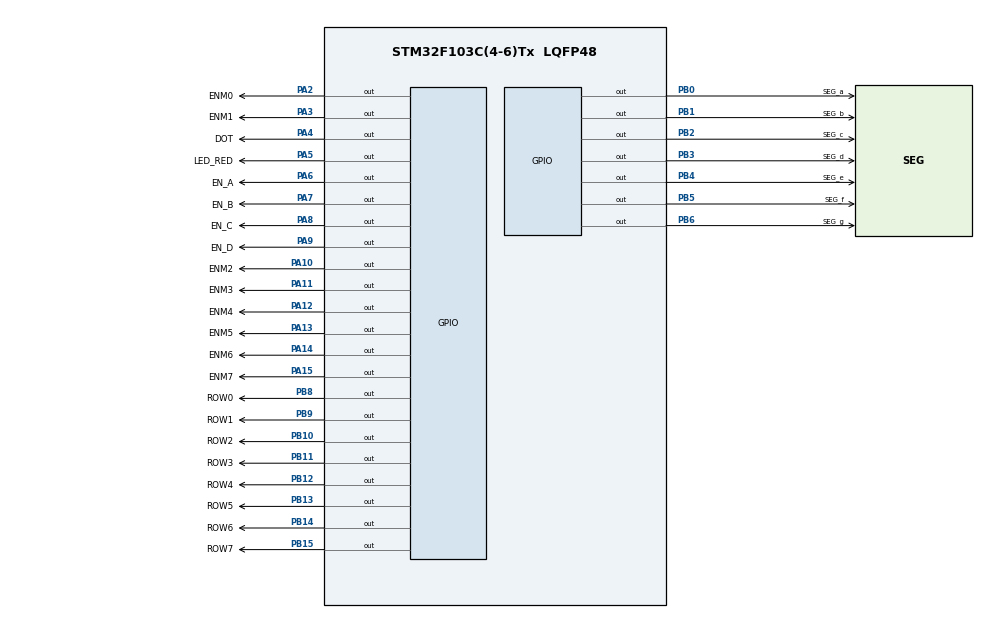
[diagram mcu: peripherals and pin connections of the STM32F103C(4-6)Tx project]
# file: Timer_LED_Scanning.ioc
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Mcu.Family=STM32F1
Mcu.Name=STM32F103C(4-6)Tx
Mcu.Package=LQFP48
NVIC.PriorityGroup=NVIC_PRIORITYGROUP_4
NVIC.TIM2_IRQn=true\:0\:0\:false\:false\:true\:true\:true
PA10.GPIO_Label=ENM2
PA10.Signal=GPIO_Output
PA11.GPIO_Label=ENM3
PA11.Signal=GPIO_Output
PA12.GPIO_Label=ENM4
PA12.Signal=GPIO_Output
PA13.GPIO_Label=ENM5
PA13.Signal=GPIO_Output
PA14.GPIO_Label=ENM6
PA14.Signal=GPIO_Output
PA15.GPIO_Label=ENM7
PA15.Signal=GPIO_Output
PA2.GPIO_Label=ENM0
PA2.Signal=GPIO_Output
PA3.GPIO_Label=ENM1
PA3.Signal=GPIO_Output
PA4.GPIO_Label=DOT
PA4.Signal=GPIO_Output
PA5.GPIO_Label=LED_RED
PA5.Signal=GPIO_Output
PA6.GPIO_Label=EN_A
PA6.Signal=GPIO_Output
PA7.GPIO_Label=EN_B
PA7.Signal=GPIO_Output
PA8.GPIO_Label=EN_C
PA8.Signal=GPIO_Output
PA9.GPIO_Label=EN_D
PA9.Signal=GPIO_Output
PB0.GPIO_Label=SEG_a
PB0.Signal=GPIO_Output
PB1.GPIO_Label=SEG_b
PB1.Signal=GPIO_Output
PB10.GPIO_Label=ROW2
PB10.Signal=GPIO_Output
PB11.GPIO_Label=ROW3
PB11.Signal=GPIO_Output
PB12.GPIO_Label=ROW4
PB12.Signal=GPIO_Output
PB13.GPIO_Label=ROW5
PB13.Signal=GPIO_Output
PB14.GPIO_Label=ROW6
PB14.Signal=GPIO_Output
PB15.GPIO_Label=ROW7
PB15.Signal=GPIO_Output
PB2.GPIO_Label=SEG_c
PB2.Signal=GPIO_Output
PB3.GPIO_Label=SEG_d
PB3.Signal=GPIO_Output
PB4.GPIO_Label=SEG_e
PB4.Signal=GPIO_Output
PB5.GPIO_Label=SEG_f
PB5.Signal=GPIO_Output
PB6.GPIO_Label=SEG_g
PB6.Signal=GPIO_Output
PB8.GPIO_Label=ROW0
PB8.Signal=GPIO_Output
PB9.GPIO_Label=ROW1
PB9.Signal=GPIO_Output
ProjectManager.HeapSize=0x200
ProjectManager.StackSize=0x400
ProjectManager.TargetToolchain=STM32CubeIDE
RCC.APB1Freq_Value=8000000
RCC.APB2Freq_Value=8000000
TIM2.Period=9
TIM2.Prescaler=7999
VP_SYS_VS_ND.Mode=No_Debug
VP_TIM2_VS_ClockSourceINT.Mode=Internal
board=custom

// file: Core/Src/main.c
/* USER CODE BEGIN Header */
/**
  ******************************************************************************
  * @file           : main.c
  * @brief          : Main program body
  ******************************************************************************
  * @attention
  *
  * <h2><center>&copy; Copyright (c) 2023 STMicroelectronics.
  * All rights reserved.</center></h2>
  *
  * This software component is licensed by ST under BSD 3-Clause license,
  * the "License"; You may not use this file except in compliance with the
  * License. You may obtain a copy of the License at:
  *                        opensource.org/licenses/BSD-3-Clause
  *
  ******************************************************************************
  */
/* USER CODE END Header */
#include "main.h"

TIM_HandleTypeDef htim2;

/* USER CODE BEGIN PV */
int dot_status = 0;
int led_index = 0;
char matrix_value = 'A';
int matrix_row_index = 0;
int matrix_index = 0;
int hour = 15;
int minute = 8;
int second = 50;
/* USER CODE END PV */

void SystemClock_Config(void);
static void MX_GPIO_Init(void);
static void MX_TIM2_Init(void);

int main(void)
{

  /* MCU Configuration--------------------------------------------------------*/

  /* Reset of all peripherals, Initializes the Flash interface and the Systick. */
  HAL_Init();

  /* Configure the system clock */
  SystemClock_Config();

  /* Initialize all configured peripherals */
  MX_GPIO_Init();
  MX_TIM2_Init();
  /* USER CODE BEGIN 2 */
  HAL_GPIO_WritePin(LED_RED_GPIO_Port, LED_RED_Pin, GPIO_PIN_RESET);
  HAL_TIM_Base_Start_IT(&htim2);
  init_led_seg();
  init_software_timer();
  init_led_matrix();
  /* USER CODE END 2 */

  /* Infinite loop */
  /* USER CODE BEGIN WHILE */
  while (1)
  {
	  // LED scanning
	  update7SEG(led_index);
	  displayDot(dot_status);
	  updateMatrixRow(matrix_row_index);
	  updateMatrixBuffer(matrix_value);
	  // Timer controller for next state
	  if(timer[SEG_TIMER_INDEX].flag == 1){
		  set_timer(SEG_TIMER_INDEX);
		  led_index = (led_index + 1) % NUM_LED;// Switch to next LEDs
	  }
	  if(timer[DOT_TIMER_INDEX].flag == 1){
		  set_timer(DOT_TIMER_INDEX);
		  dot_status = !dot_status;
	  }
	  if(timer[CLOCK_TIMER_INDEX].flag == 1){
		  set_timer(CLOCK_TIMER_INDEX);
		  second++;
		  if(second >= 60){
			  second = 0;
			  minute++;
		  }
		  if(minute >= 60){
			  hour++;
			  minute = 0;
		  }
		  if(hour >= 24){
			  hour = 0;
		  }
		  updateClockBuffer(hour, minute);
		  matrix_value = (matrix_value + 1) % (NUM_ROW * 2);
	  }

	  if(timer[MATRIX_TIMER_INDEX].flag == 1){
		  set_timer(MATRIX_TIMER_INDEX);
		  matrix_row_index = (matrix_row_index + 1) % NUM_ROW;
	  }

    /* USER CODE END WHILE */

  }
}

void SystemClock_Config(void)
{
  RCC_OscInitTypeDef RCC_OscInitStruct = {0};
  RCC_ClkInitTypeDef RCC_ClkInitStruct = {0};

  /** Initializes the RCC Oscillators according to the specified parameters
  * in the RCC_OscInitTypeDef structure.
  */
  RCC_OscInitStruct.OscillatorType = RCC_OSCILLATORTYPE_HSI;
  RCC_OscInitStruct.HSIState = RCC_HSI_ON;
  RCC_OscInitStruct.HSICalibrationValue = RCC_HSICALIBRATION_DEFAULT;
  RCC_OscInitStruct.PLL.PLLState = RCC_PLL_NONE;
  if (HAL_RCC_OscConfig(&RCC_OscInitStruct) != HAL_OK)
  {
    Error_Handler();
  }
  /** Initializes the CPU, AHB and APB buses clocks
  */
  RCC_ClkInitStruct.ClockType = RCC_CLOCKTYPE_HCLK|RCC_CLOCKTYPE_SYSCLK
                              |RCC_CLOCKTYPE_PCLK1|RCC_CLOCKTYPE_PCLK2;
  RCC_ClkInitStruct.SYSCLKSource = RCC_SYSCLKSOURCE_HSI;
  RCC_ClkInitStruct.AHBCLKDivider = RCC_SYSCLK_DIV1;
  RCC_ClkInitStruct.APB1CLKDivider = RCC_HCLK_DIV1;
  RCC_ClkInitStruct.APB2CLKDivider = RCC_HCLK_DIV1;

  if (HAL_RCC_ClockConfig(&RCC_ClkInitStruct, FLASH_LATENCY_0) != HAL_OK)
  {
    Error_Handler();
  }
}

static void MX_TIM2_Init(void)
{

  TIM_ClockConfigTypeDef sClockSourceConfig = {0};
  TIM_MasterConfigTypeDef sMasterConfig = {0};

  htim2.Instance = TIM2;
  htim2.Init.Prescaler = 7999;
  htim2.Init.CounterMode = TIM_COUNTERMODE_UP;
  htim2.Init.Period = 9;
  htim2.Init.ClockDivision = TIM_CLOCKDIVISION_DIV1;
  htim2.Init.AutoReloadPreload = TIM_AUTORELOAD_PRELOAD_DISABLE;
  if (HAL_TIM_Base_Init(&htim2) != HAL_OK)
  {
    Error_Handler();
  }
  sClockSourceConfig.ClockSource = TIM_CLOCKSOURCE_INTERNAL;
  if (HAL_TIM_ConfigClockSource(&htim2, &sClockSourceConfig) != HAL_OK)
  {
    Error_Handler();
  }
  sMasterConfig.MasterOutputTrigger = TIM_TRGO_RESET;
  sMasterConfig.MasterSlaveMode = TIM_MASTERSLAVEMODE_DISABLE;
  if (HAL_TIMEx_MasterConfigSynchronization(&htim2, &sMasterConfig) != HAL_OK)
  {
    Error_Handler();
  }

}

static void MX_GPIO_Init(void)
{
  GPIO_InitTypeDef GPIO_InitStruct = {0};

  /* GPIO Ports Clock Enable */
  __HAL_RCC_GPIOA_CLK_ENABLE();
  __HAL_RCC_GPIOB_CLK_ENABLE();

  /*Configure GPIO pin Output Level */
  HAL_GPIO_WritePin(GPIOA, ENM0_Pin|ENM1_Pin|DOT_Pin|LED_RED_Pin
                          |EN_A_Pin|EN_B_Pin|EN_C_Pin|EN_D_Pin
                          |ENM2_Pin|ENM3_Pin|ENM4_Pin|ENM5_Pin
                          |ENM6_Pin|ENM7_Pin, GPIO_PIN_RESET);

  /*Configure GPIO pin Output Level */
  HAL_GPIO_WritePin(GPIOB, SEG_a_Pin|SEG_b_Pin|SEG_c_Pin|ROW2_Pin
                          |ROW3_Pin|ROW4_Pin|ROW5_Pin|ROW6_Pin
                          |ROW7_Pin|SEG_d_Pin|SEG_e_Pin|SEG_f_Pin
                          |SEG_g_Pin|ROW0_Pin|ROW1_Pin, GPIO_PIN_RESET);

  /*Configure GPIO pins : ENM0_Pin ENM1_Pin DOT_Pin LED_RED_Pin
                           EN_A_Pin EN_B_Pin EN_C_Pin EN_D_Pin
                           ENM2_Pin ENM3_Pin ENM4_Pin ENM5_Pin
                           ENM6_Pin ENM7_Pin */
  GPIO_InitStruct.Pin = ENM0_Pin|ENM1_Pin|DOT_Pin|LED_RED_Pin
                          |EN_A_Pin|EN_B_Pin|EN_C_Pin|EN_D_Pin
                          |ENM2_Pin|ENM3_Pin|ENM4_Pin|ENM5_Pin
                          |ENM6_Pin|ENM7_Pin;
  GPIO_InitStruct.Mode = GPIO_MODE_OUTPUT_PP;
  GPIO_InitStruct.Pull = GPIO_NOPULL;
  GPIO_InitStruct.Speed = GPIO_SPEED_FREQ_LOW;
  HAL_GPIO_Init(GPIOA, &GPIO_InitStruct);

  /*Configure GPIO pins : SEG_a_Pin SEG_b_Pin SEG_c_Pin ROW2_Pin
                           ROW3_Pin ROW4_Pin ROW5_Pin ROW6_Pin
                           ROW7_Pin SEG_d_Pin SEG_e_Pin SEG_f_Pin
                           SEG_g_Pin ROW0_Pin ROW1_Pin */
  GPIO_InitStruct.Pin = SEG_a_Pin|SEG_b_Pin|SEG_c_Pin|ROW2_Pin
                          |ROW3_Pin|ROW4_Pin|ROW5_Pin|ROW6_Pin
                          |ROW7_Pin|SEG_d_Pin|SEG_e_Pin|SEG_f_Pin
                          |SEG_g_Pin|ROW0_Pin|ROW1_Pin;
  GPIO_InitStruct.Mode = GPIO_MODE_OUTPUT_PP;
  GPIO_InitStruct.Pull = GPIO_NOPULL;
  GPIO_InitStruct.Speed = GPIO_SPEED_FREQ_LOW;
  HAL_GPIO_Init(GPIOB, &GPIO_InitStruct);

}

/* USER CODE BEGIN 4 */
void HAL_TIM_PeriodElapsedCallback(TIM_HandleTypeDef *htim){
	for(int index = 0; index < NUM_TIMER; index++){
		if(timer[index].counter > 0){
			timer[index].counter--;
			if(timer[index].counter <= 0)
				timer[index].flag = 1;
		}
	}
}
/* USER CODE END 4 */

void Error_Handler(void)
{
  __disable_irq();
  while (1)
  {
  }
}

/************************ (C) COPYRIGHT STMicroelectronics *****END OF FILE****/
